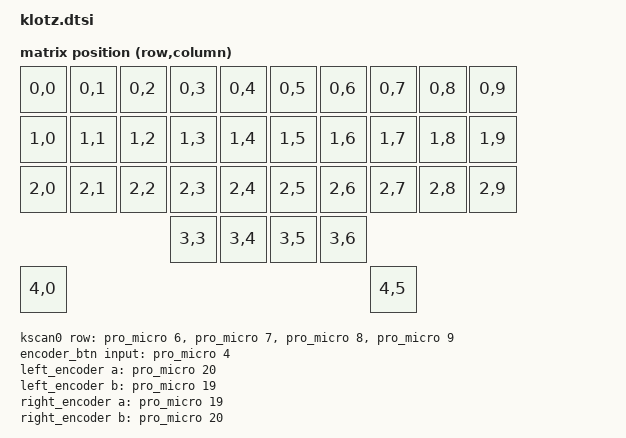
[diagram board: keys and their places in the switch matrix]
/*
 * Copyright (c) 2022 The ZMK Contributors
 *
 * SPDX-License-Identifier: MIT
 */

#include <dt-bindings/zmk/matrix_transform.h>
#include <dt-bindings/gpio/gpio.h>

/ {
	chosen {
		/* Composite = the key matrix + the encoder push-buttons (direct GPIO). */
		zmk,kscan = &kscan_composite;
		zmk,matrix_transform = &default_transform;
	};

	default_transform: keymap_transform {
		compatible = "zmk,matrix-transform";
		columns = <10>;
		rows = <5>;
		/* Row 4 holds the encoder push-buttons: RC(4,0) = LEFT encoder (this
		 * half has no col-offset), RC(4,5) = RIGHT encoder (klotz_right.overlay
		 * sets col-offset = 5, so its composite (4,0) maps to (4,5) here).
		 * These are the last two key positions (34 = left, 35 = right). */
		map = <
		RC(0,0) RC(0,1) RC(0,2) RC(0,3) RC(0,4)    RC(0,5) RC(0,6) RC(0,7) RC(0,8) RC(0,9)
		RC(1,0) RC(1,1) RC(1,2) RC(1,3) RC(1,4)    RC(1,5) RC(1,6) RC(1,7) RC(1,8) RC(1,9)
		RC(2,0) RC(2,1) RC(2,2) RC(2,3) RC(2,4)    RC(2,5) RC(2,6) RC(2,7) RC(2,8) RC(2,9)
		                        RC(3,3) RC(3,4)    RC(3,5) RC(3,6)
		RC(4,0)                                                       RC(4,5)
		>;
	};


	kscan0: kscan {
		compatible = "zmk,kscan-gpio-matrix";
		label = "KSCAN";

		diode-direction = "col2row";
		row-gpios
			= <&pro_micro 6 (GPIO_ACTIVE_HIGH | GPIO_PULL_DOWN)>
			, <&pro_micro 7 (GPIO_ACTIVE_HIGH | GPIO_PULL_DOWN)>
			, <&pro_micro 8 (GPIO_ACTIVE_HIGH | GPIO_PULL_DOWN)>
			, <&pro_micro 9 (GPIO_ACTIVE_HIGH | GPIO_PULL_DOWN)>
			;
	};

	/* Encoder push-button as a direct GPIO key on D4 (free on both halves;
	 * matrix uses D6-D10/D14-D16/D18, encoder rotation D19/D20, trackpad
	 * D0-D3). Wire the encoder's switch pin to D4 and its other leg to GND. */
	encoder_btn: kscan_encoder_btn {
		compatible = "zmk,kscan-gpio-direct";
		input-gpios = <&pro_micro 4 (GPIO_ACTIVE_LOW | GPIO_PULL_UP)>;
	};

	/* Merge the key matrix (rows 0-3) with the encoder button (row 4). */
	kscan_composite: kscan_composite {
		compatible = "zmk,kscan-composite";
		rows = <5>;
		columns = <5>;

		matrix {
			kscan = <&kscan0>;
		};

		encoder {
			kscan = <&encoder_btn>;
			row-offset = <4>;
			column-offset = <0>;
		};
	};

	left_encoder: encoder_left {
		compatible = "alps,ec11";
		a-gpios = <&pro_micro 20 (GPIO_ACTIVE_HIGH | GPIO_PULL_UP)>;
		b-gpios = <&pro_micro 19 (GPIO_ACTIVE_HIGH | GPIO_PULL_UP)>;
		steps = <24>;
		status = "disabled";
	};

	right_encoder: encoder_right {
		compatible = "alps,ec11";
		a-gpios = <&pro_micro 19 (GPIO_ACTIVE_HIGH | GPIO_PULL_UP)>;
		b-gpios = <&pro_micro 20 (GPIO_ACTIVE_HIGH | GPIO_PULL_UP)>;
		steps = <24>;
		status = "disabled";
	};

	sensors {
		compatible = "zmk,keymap-sensors";
		sensors = <&left_encoder &right_encoder>;
		triggers-per-rotation = <6>;
	};
};
